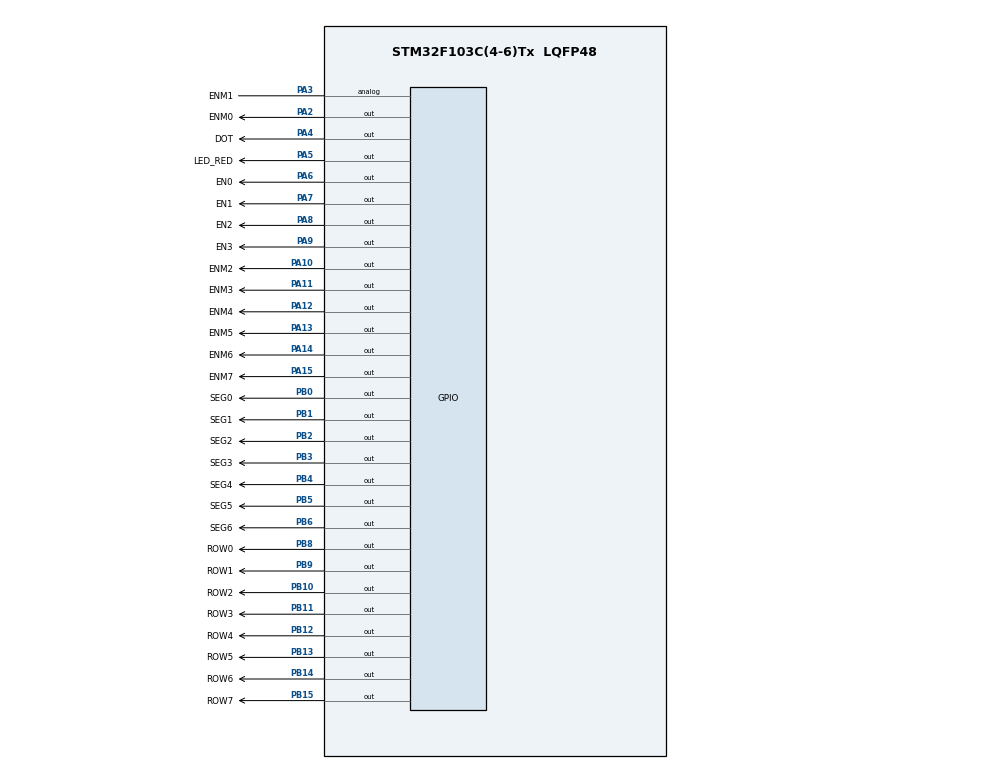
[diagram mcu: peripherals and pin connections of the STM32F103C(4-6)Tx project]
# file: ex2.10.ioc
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Mcu.Family=STM32F1
Mcu.Name=STM32F103C(4-6)Tx
Mcu.Package=LQFP48
NVIC.PriorityGroup=NVIC_PRIORITYGROUP_4
NVIC.TIM2_IRQn=true\:0\:0\:false\:false\:true\:true\:true
PA10.GPIO_Label=ENM2
PA10.Signal=GPIO_Output
PA11.GPIO_Label=ENM3
PA11.Signal=GPIO_Output
PA12.GPIO_Label=ENM4
PA12.Signal=GPIO_Output
PA13.GPIO_Label=ENM5
PA13.Signal=GPIO_Output
PA14.GPIO_Label=ENM6
PA14.Signal=GPIO_Output
PA15.GPIO_Label=ENM7
PA15.Signal=GPIO_Output
PA2.GPIO_Label=ENM0
PA2.Signal=GPIO_Output
PA3.GPIO_Label=ENM1
PA3.Signal=GPIO_Analog
PA4.GPIO_Label=DOT
PA4.Signal=GPIO_Output
PA5.GPIO_Label=LED_RED
PA5.Signal=GPIO_Output
PA6.GPIO_Label=EN0
PA6.Signal=GPIO_Output
PA7.GPIO_Label=EN1
PA7.Signal=GPIO_Output
PA8.GPIO_Label=EN2
PA8.Signal=GPIO_Output
PA9.GPIO_Label=EN3
PA9.Signal=GPIO_Output
PB0.GPIO_Label=SEG0
PB0.Signal=GPIO_Output
PB1.GPIO_Label=SEG1
PB1.Signal=GPIO_Output
PB10.GPIO_Label=ROW2
PB10.Signal=GPIO_Output
PB11.GPIO_Label=ROW3
PB11.Signal=GPIO_Output
PB12.GPIO_Label=ROW4
PB12.Signal=GPIO_Output
PB13.GPIO_Label=ROW5
PB13.Signal=GPIO_Output
PB14.GPIO_Label=ROW6
PB14.Signal=GPIO_Output
PB15.GPIO_Label=ROW7
PB15.Signal=GPIO_Output
PB2.GPIO_Label=SEG2
PB2.Signal=GPIO_Output
PB3.GPIO_Label=SEG3
PB3.Signal=GPIO_Output
PB4.GPIO_Label=SEG4
PB4.Signal=GPIO_Output
PB5.GPIO_Label=SEG5
PB5.Signal=GPIO_Output
PB6.GPIO_Label=SEG6
PB6.Signal=GPIO_Output
PB8.GPIO_Label=ROW0
PB8.Signal=GPIO_Output
PB9.GPIO_Label=ROW1
PB9.Signal=GPIO_Output
ProjectManager.HeapSize=0x200
ProjectManager.StackSize=0x400
ProjectManager.TargetToolchain=STM32CubeIDE
RCC.APB1Freq_Value=8000000
RCC.APB2Freq_Value=8000000
TIM2.Period=9
TIM2.Prescaler=7999
VP_SYS_VS_ND.Mode=No_Debug
VP_TIM2_VS_ClockSourceINT.Mode=Internal
board=custom

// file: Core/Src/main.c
/* USER CODE BEGIN Header */
/**
  ****************************************************************************
  * @file           : main.c
  * @brief          : Main program body
  ****************************************************************************
  * @attention
  *
  * <h2><center>&copy; Copyright (c) 2026 STMicroelectronics.
  * All rights reserved.</center></h2>
  *
  * This software component is licensed by ST under BSD 3-Clause license,
  * the "License"; You may not use this file except in compliance with the
  * License. You may obtain a copy of the License at:
  *                        opensource.org/licenses/BSD-3-Clause
  *
  ****************************************************************************
  */
/* USER CODE END Header */
#include "main.h"

TIM_HandleTypeDef htim2;

/* USER CODE BEGIN PV */
const int MAX_LED_MATRIX = 8;
int index_led_matrix = 0;

// Mã Hex hiển thị chữ "A" đứng giữa màn hình 8x8
uint8_t matrix_buffer[8] = {
	0x00,// Cột 0: Trống
    0x7C, // Cột 1: 0111 1100 (Thân trái)
    0x12, // Cột 2: 0001 0010 (Nét gạch & móc)
    0x11, // Cột 3: 0001 0001 (đỉnh chữ A)
    0x12, // Cột 4: 0001 0010 (Nét gạch & móc)
    0x7C, // Cột 5: 0111 1100 (Thân phải)
    0x00, // Cột 6: Trống
    0x00  // Cột 7: Trống
};
/* USER CODE END PV */

void SystemClock_Config(void);
static void MX_GPIO_Init(void);
static void MX_TIM2_Init(void);
/* USER CODE BEGIN PFP */
void updateLEDMatrix(int index);
/* USER CODE END PFP */

/* USER CODE BEGIN 0 */
int TIMER_CYCLE = 10; // Chu kỳ ngắt TIM2 = 10ms

// --- SOFTWARE TIMER CHO LED MATRIX ---
int timer3_counter = 0, timer3_flag = 0;
void setTimer3(int duration) {
    timer3_counter = duration / TIMER_CYCLE;
    timer3_flag = 0;
}

int timer4_counter = 0, timer4_flag = 0;
void setTimer4(int duration) {
    timer4_counter = duration / TIMER_CYCLE;
    timer4_flag = 0;
}

void timer_run() {
    if (timer3_counter > 0) {
        timer3_counter--;
        if (timer3_counter == 0) timer3_flag = 1;
    }

    // �?ếm giảm cho Timer 4
    if (timer4_counter > 0) {
        timer4_counter--;
        if (timer4_counter == 0) timer4_flag = 1;
    }
}

// Hàm dịch chuyển dữ liệu mảng matrix_buffer sang trái 1 cột
void shiftLeft() {
    uint8_t temp = matrix_buffer[0];
    for (int i = 0; i < 7; i++) {
        matrix_buffer[i] = matrix_buffer[i + 1];
    }
    matrix_buffer[7] = temp;
}
/* USER CODE END 0 */

int main(void)
{

  /* MCU Configuration--------------------------------------------------------*/

  /* Reset of all peripherals, Initializes the Flash interface and the Systick. */
  HAL_Init();

  /* Configure the system clock */
  SystemClock_Config();

  /* Initialize all configured peripherals */
  MX_GPIO_Init();
  MX_TIM2_Init();
  /* USER CODE BEGIN 2 */
  __HAL_TIM_CLEAR_FLAG(&htim2, TIM_FLAG_UPDATE);
  HAL_TIM_Base_Start_IT(&htim2);
  setTimer3(10);
    setTimer4(500);
  /* USER CODE END 2 */

  /* Infinite loop */
  /* USER CODE BEGIN WHILE */

  while (1)
  {
	  // =======================================================
	        // CỜ QUÉT MA TRẬN LED 8x8 (Bài 9)
	        // =======================================================
	        if (timer3_flag == 1) {
	            setTimer3(10);

	            updateLEDMatrix(index_led_matrix);
	            index_led_matrix++;
	            if (index_led_matrix >= MAX_LED_MATRIX) {
	                index_led_matrix = 0;
	            }
	        }
	        if (timer4_flag == 1) {
				  setTimer4(500); // Reset timer 200ms
				  shiftLeft();    // Thực hiện dịch hình ảnh sang trái
			  }
    /* USER CODE END WHILE */

  }
}

void SystemClock_Config(void)
{
  RCC_OscInitTypeDef RCC_OscInitStruct = {0};
  RCC_ClkInitTypeDef RCC_ClkInitStruct = {0};

  /** Initializes the RCC Oscillators according to the specified parameters
  * in the RCC_OscInitTypeDef structure.
  */
  RCC_OscInitStruct.OscillatorType = RCC_OSCILLATORTYPE_HSI;
  RCC_OscInitStruct.HSIState = RCC_HSI_ON;
  RCC_OscInitStruct.HSICalibrationValue = RCC_HSICALIBRATION_DEFAULT;
  RCC_OscInitStruct.PLL.PLLState = RCC_PLL_NONE;
  if (HAL_RCC_OscConfig(&RCC_OscInitStruct) != HAL_OK)
  {
    Error_Handler();
  }
  /** Initializes the CPU, AHB and APB buses clocks
  */
  RCC_ClkInitStruct.ClockType = RCC_CLOCKTYPE_HCLK|RCC_CLOCKTYPE_SYSCLK
                              |RCC_CLOCKTYPE_PCLK1|RCC_CLOCKTYPE_PCLK2;
  RCC_ClkInitStruct.SYSCLKSource = RCC_SYSCLKSOURCE_HSI;
  RCC_ClkInitStruct.AHBCLKDivider = RCC_SYSCLK_DIV1;
  RCC_ClkInitStruct.APB1CLKDivider = RCC_HCLK_DIV1;
  RCC_ClkInitStruct.APB2CLKDivider = RCC_HCLK_DIV1;

  if (HAL_RCC_ClockConfig(&RCC_ClkInitStruct, FLASH_LATENCY_0) != HAL_OK)
  {
    Error_Handler();
  }
}

static void MX_TIM2_Init(void)
{

  TIM_ClockConfigTypeDef sClockSourceConfig = {0};
  TIM_MasterConfigTypeDef sMasterConfig = {0};

  htim2.Instance = TIM2;
  htim2.Init.Prescaler = 7999;
  htim2.Init.CounterMode = TIM_COUNTERMODE_UP;
  htim2.Init.Period = 9;
  htim2.Init.ClockDivision = TIM_CLOCKDIVISION_DIV1;
  htim2.Init.AutoReloadPreload = TIM_AUTORELOAD_PRELOAD_DISABLE;
  if (HAL_TIM_Base_Init(&htim2) != HAL_OK)
  {
    Error_Handler();
  }
  sClockSourceConfig.ClockSource = TIM_CLOCKSOURCE_INTERNAL;
  if (HAL_TIM_ConfigClockSource(&htim2, &sClockSourceConfig) != HAL_OK)
  {
    Error_Handler();
  }
  sMasterConfig.MasterOutputTrigger = TIM_TRGO_RESET;
  sMasterConfig.MasterSlaveMode = TIM_MASTERSLAVEMODE_DISABLE;
  if (HAL_TIMEx_MasterConfigSynchronization(&htim2, &sMasterConfig) != HAL_OK)
  {
    Error_Handler();
  }

}

static void MX_GPIO_Init(void)
{
  GPIO_InitTypeDef GPIO_InitStruct = {0};

  /* GPIO Ports Clock Enable */
  __HAL_RCC_GPIOA_CLK_ENABLE();
  __HAL_RCC_GPIOB_CLK_ENABLE();

  /*Configure GPIO pin Output Level */
  HAL_GPIO_WritePin(GPIOA, ENM0_Pin|DOT_Pin|LED_RED_Pin|EN0_Pin
                          |EN1_Pin|EN2_Pin|EN3_Pin|ENM2_Pin
                          |ENM3_Pin|ENM4_Pin|ENM5_Pin|ENM6_Pin
                          |ENM7_Pin, GPIO_PIN_RESET);

  /*Configure GPIO pin Output Level */
  HAL_GPIO_WritePin(GPIOB, SEG0_Pin|SEG1_Pin|SEG2_Pin|ROW2_Pin
                          |ROW3_Pin|ROW4_Pin|ROW5_Pin|ROW6_Pin
                          |ROW7_Pin|SEG3_Pin|SEG4_Pin|SEG5_Pin
                          |SEG6_Pin|ROW0_Pin|ROW1_Pin, GPIO_PIN_RESET);

  /*Configure GPIO pins : ENM0_Pin DOT_Pin LED_RED_Pin EN0_Pin
                           EN1_Pin EN2_Pin EN3_Pin ENM2_Pin
                           ENM3_Pin ENM4_Pin ENM5_Pin ENM6_Pin
                           ENM7_Pin */
  GPIO_InitStruct.Pin = ENM0_Pin|DOT_Pin|LED_RED_Pin|EN0_Pin
                          |EN1_Pin|EN2_Pin|EN3_Pin|ENM2_Pin
                          |ENM3_Pin|ENM4_Pin|ENM5_Pin|ENM6_Pin
                          |ENM7_Pin;
  GPIO_InitStruct.Mode = GPIO_MODE_OUTPUT_PP;
  GPIO_InitStruct.Pull = GPIO_NOPULL;
  GPIO_InitStruct.Speed = GPIO_SPEED_FREQ_LOW;
  HAL_GPIO_Init(GPIOA, &GPIO_InitStruct);

  /*Configure GPIO pin : ENM1_Pin */
  GPIO_InitStruct.Pin = ENM1_Pin;
  GPIO_InitStruct.Mode = GPIO_MODE_ANALOG;
  HAL_GPIO_Init(ENM1_GPIO_Port, &GPIO_InitStruct);

  /*Configure GPIO pins : SEG0_Pin SEG1_Pin SEG2_Pin ROW2_Pin
                           ROW3_Pin ROW4_Pin ROW5_Pin ROW6_Pin
                           ROW7_Pin SEG3_Pin SEG4_Pin SEG5_Pin
                           SEG6_Pin ROW0_Pin ROW1_Pin */
  GPIO_InitStruct.Pin = SEG0_Pin|SEG1_Pin|SEG2_Pin|ROW2_Pin
                          |ROW3_Pin|ROW4_Pin|ROW5_Pin|ROW6_Pin
                          |ROW7_Pin|SEG3_Pin|SEG4_Pin|SEG5_Pin
                          |SEG6_Pin|ROW0_Pin|ROW1_Pin;
  GPIO_InitStruct.Mode = GPIO_MODE_OUTPUT_PP;
  GPIO_InitStruct.Pull = GPIO_NOPULL;
  GPIO_InitStruct.Speed = GPIO_SPEED_FREQ_LOW;
  HAL_GPIO_Init(GPIOB, &GPIO_InitStruct);

}

/* USER CODE BEGIN 4 */
void updateLEDMatrix(int index) {
    // 1. Tắt toàn bộ 8 cột ENM0 -> ENM7 để chống nhòe bóng
    HAL_GPIO_WritePin(GPIOA, ENM0_Pin|ENM1_Pin|ENM2_Pin|ENM3_Pin
                            |ENM4_Pin|ENM5_Pin|ENM6_Pin|ENM7_Pin, GPIO_PIN_RESET);

    // 2. Tách từng bit trong byte dữ liệu của cột để xuất ra ROW0 - ROW7 (PB8 -> PB15)
    uint8_t data = matrix_buffer[index];
    HAL_GPIO_WritePin(GPIOB, ROW0_Pin, (data & 0x01) ? GPIO_PIN_SET : GPIO_PIN_RESET);
    HAL_GPIO_WritePin(GPIOB, ROW1_Pin, (data & 0x02) ? GPIO_PIN_SET : GPIO_PIN_RESET);
    HAL_GPIO_WritePin(GPIOB, ROW2_Pin, (data & 0x04) ? GPIO_PIN_SET : GPIO_PIN_RESET);
    HAL_GPIO_WritePin(GPIOB, ROW3_Pin, (data & 0x08) ? GPIO_PIN_SET : GPIO_PIN_RESET);
    HAL_GPIO_WritePin(GPIOB, ROW4_Pin, (data & 0x10) ? GPIO_PIN_SET : GPIO_PIN_RESET);
    HAL_GPIO_WritePin(GPIOB, ROW5_Pin, (data & 0x20) ? GPIO_PIN_SET : GPIO_PIN_RESET);
    HAL_GPIO_WritePin(GPIOB, ROW6_Pin, (data & 0x40) ? GPIO_PIN_SET : GPIO_PIN_RESET);
    HAL_GPIO_WritePin(GPIOB, ROW7_Pin, (data & 0x80) ? GPIO_PIN_SET : GPIO_PIN_RESET);

    // 3. Bật đúng 1 transistor đi�?u khiển cột tương ứng
    switch (index) {
        case 0: HAL_GPIO_WritePin(GPIOA, ENM0_Pin, GPIO_PIN_SET); break;
        case 1: HAL_GPIO_WritePin(GPIOA, ENM1_Pin, GPIO_PIN_SET); break;
        case 2: HAL_GPIO_WritePin(GPIOA, ENM2_Pin, GPIO_PIN_SET); break;
        case 3: HAL_GPIO_WritePin(GPIOA, ENM3_Pin, GPIO_PIN_SET); break;
        case 4: HAL_GPIO_WritePin(GPIOA, ENM4_Pin, GPIO_PIN_SET); break;
        case 5: HAL_GPIO_WritePin(GPIOA, ENM5_Pin, GPIO_PIN_SET); break;
        case 6: HAL_GPIO_WritePin(GPIOA, ENM6_Pin, GPIO_PIN_SET); break;
        case 7: HAL_GPIO_WritePin(GPIOA, ENM7_Pin, GPIO_PIN_SET); break;
        default: break;
    }
}

// Trình phục vụ ngắt Timer 2
void HAL_TIM_PeriodElapsedCallback(TIM_HandleTypeDef *htim) {
    if (htim->Instance == TIM2) {
        timer_run(); // Chạy bộ đếm Software Timer ngầm
    }
}
/* USER CODE END 4 */

void Error_Handler(void)
{
  __disable_irq();
  while (1)
  {
  }
}

/************************ (C) COPYRIGHT STMicroelectronics *****END OF FILE****/
